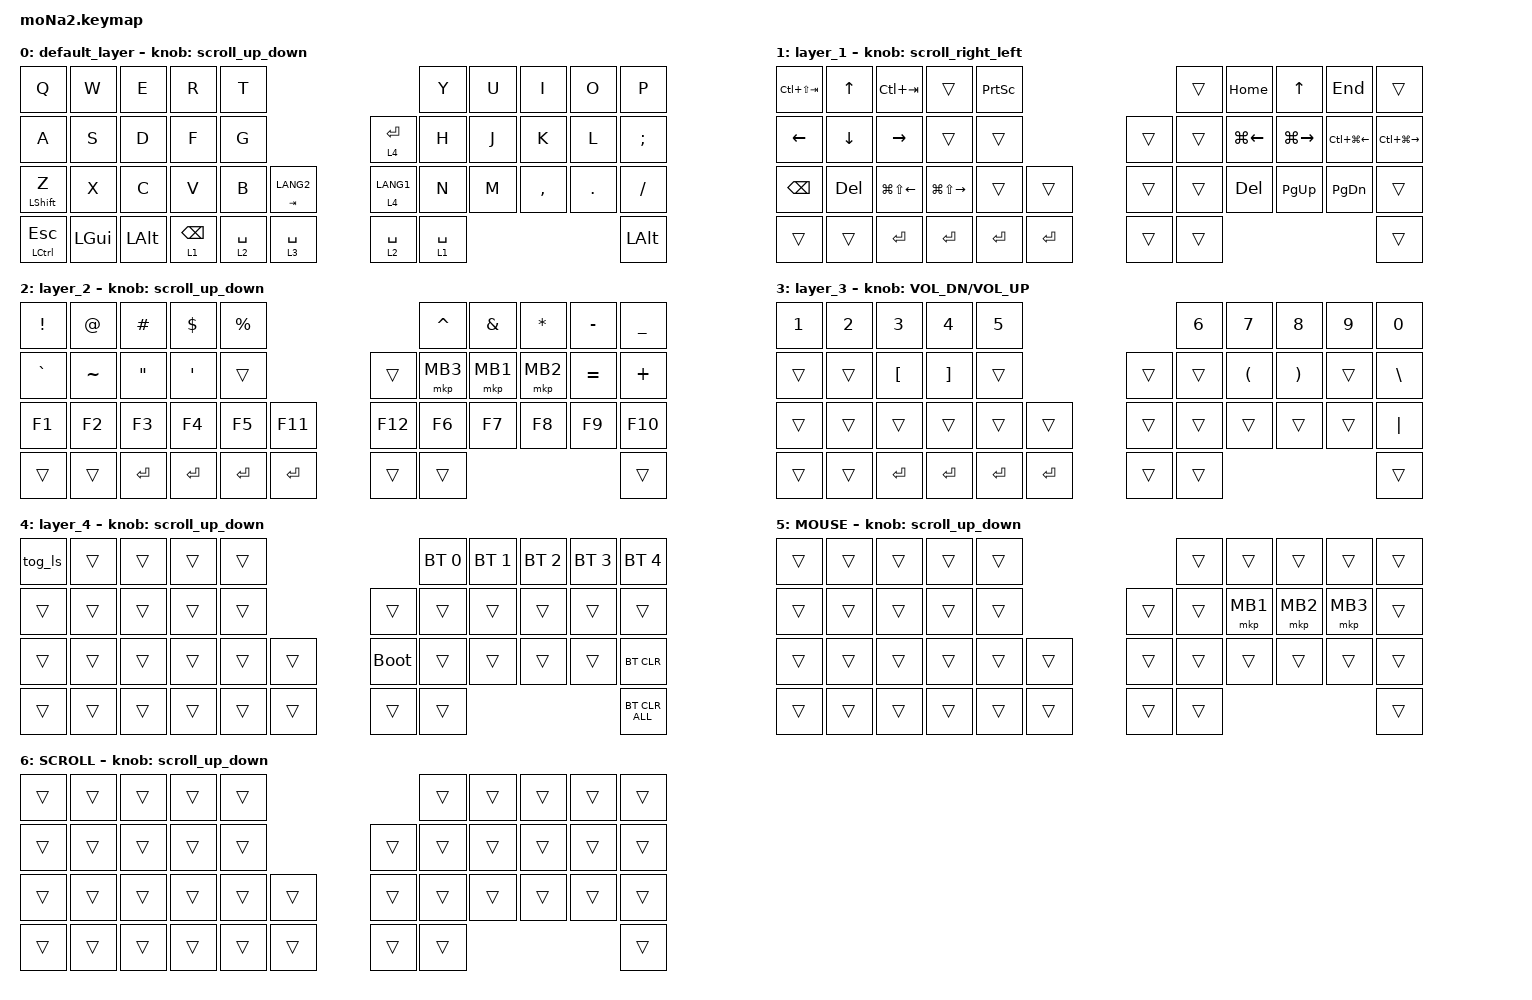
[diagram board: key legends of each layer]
#include <input/processors.dtsi>
#include <dt-bindings/zmk/input_transform.h>
#include <zephyr/dt-bindings/input/input-event-codes.h>
#include <behaviors.dtsi>
#include <dt-bindings/zmk/bt.h>
#include <dt-bindings/zmk/keys.h>
#include <dt-bindings/zmk/pointing.h>
#include <layout_shift_kp_override.dtsi>

#define ZMK_POINTING_DEFAULT_SCRL_VAL 100
#define MOUSE 5
#define SCROLL 6

&mt {
    flavor = "balanced";
    quick-tap-ms = <0>;
};

&lt {
    quick-tap-ms = <300>;
    flavor = "balanced";
};

/ {
    macros {
        to_layer_0: to_layer_0 {
            compatible = "zmk,behavior-macro-one-param";
            #binding-cells = <1>;
            bindings = <&to 0 &macro_param_1to1 &kp MACRO_PLACEHOLDER>;
            label = "TO_LAYER_0";
        };
    };

    behaviors {
        lt_to_layer_0: lt_to_layer_0 {
            compatible = "zmk,behavior-hold-tap";
            label = "LAYER_TAP_TO_0";
            bindings = <&mo>, <&to_layer_0>;

            #binding-cells = <2>;
            tapping-term-ms = <200>;
        };

        scroll_up_down: mouse_wheel_up_down {
            compatible = "zmk,behavior-sensor-rotate";
            #sensor-binding-cells = <0>;
            bindings = <&msc SCRL_DOWN>, <&msc SCRL_UP>;

            tap-ms = <20>;
        };

        scroll_right_left: mouse_wheel_right_left {
            compatible = "zmk,behavior-sensor-rotate";
            #sensor-binding-cells = <0>;
            bindings = <&msc SCRL_LEFT>, <&msc SCRL_RIGHT>;

            tap-ms = <20>;
        };
    };

    keymap {
        compatible = "zmk,keymap";

        default_layer {
            bindings = <
&kp Q          &kp W     &kp E     &kp R            &kp T                                      &kp Y        &kp U  &kp I      &kp O    &kp P
&kp A          &kp S     &kp D     &kp F            &kp G                         &lt 4 ENTER  &kp H        &kp J  &kp K      &kp L    &kp SEMI
&mt LSHFT Z    &kp X     &kp C     &kp V            &kp B        &mt TAB LANG2    &lt 4 LANG1  &kp N        &kp M  &kp COMMA  &kp DOT  &kp SLASH
&mt LCTRL ESC  &kp LGUI  &kp LALT  &lt 1 BACKSPACE  &lt 2 SPACE  &lt 3 SPACE      &lt 2 SPACE  &lt 1 SPACE                             &kp LALT
            >;

            sensor-bindings = <&scroll_up_down>;
        };

        layer_1 {
            bindings = <
&kp LC(LS(TAB))  &kp UP            &kp LC(TAB)        &trans         &kp PRINTSCREEN                       &trans  &kp HOME      &kp UP         &kp END           &trans
&kp LEFT         &kp DOWN          &kp RIGHT          &trans         &trans                        &trans  &trans  &kp LG(LEFT)  &kp LG(RIGHT)  &kp LC(LG(LEFT))  &kp LC(LG(RIGHT))
&kp BACKSPACE  &kp DELETE       &kp LG(LS(LEFT))  &kp LG(LS(RIGHT))  &trans           &trans       &trans  &trans  &kp DEL       &kp PG_UP      &kp PG_DN         &trans
&trans         &trans           &kp ENTER         &kp ENTER          &kp ENTER        &kp ENTER    &trans  &trans                                                 &trans
            >;

            sensor-bindings = <&scroll_right_left>;
        };

        layer_2 {
            bindings = <
&kp EXCL   &kp AT     &kp HASH   &kp DLLR   &kp PRCNT                        &kp CARET  &kp AMPS  &kp ASTRK  &kp MINUS  &kp UNDER
&kp GRAVE  &kp TILDE  &kp DQT    &kp SQT    &trans                  &trans   &mkp MB3   &mkp MB1  &mkp MB2   &kp EQUAL  &kp PLUS
&kp F1     &kp F2     &kp F3     &kp F4     &kp F5     &kp F11      &kp F12  &kp F6     &kp F7    &kp F8     &kp F9     &kp F10
&trans     &trans     &kp ENTER  &kp ENTER  &kp ENTER  &kp ENTER    &trans   &trans                                     &trans
            >;

            sensor-bindings = <&scroll_up_down>;
        };

        layer_3 {
            bindings = <
&kp N1  &kp N2  &kp N3     &kp N4     &kp N5                          &kp N6  &kp N7    &kp N8    &kp N9  &kp N0
&trans  &trans  &kp LBKT   &kp RBKT   &trans                  &trans  &trans  &kp LPAR  &kp RPAR  &trans  &kp BSLH
&trans  &trans  &trans     &trans     &trans     &trans       &trans  &trans  &trans    &trans    &trans  &kp PIPE
&trans  &trans  &kp ENTER  &kp ENTER  &kp ENTER  &kp ENTER    &trans  &trans                              &trans
            >;

            sensor-bindings = <&inc_dec_kp C_VOL_DN C_VOL_UP>;
        };

        layer_4 {
            bindings = <
&tog_ls  &trans  &trans  &trans  &trans                         &bt BT_SEL 0  &bt BT_SEL 1  &bt BT_SEL 2  &bt BT_SEL 3  &bt BT_SEL 4
&trans   &trans  &trans  &trans  &trans            &trans       &trans        &trans        &trans        &trans        &trans
&trans   &trans  &trans  &trans  &trans  &trans    &bootloader  &trans        &trans        &trans        &trans        &bt BT_CLR
&trans   &trans  &trans  &trans  &trans  &trans    &trans       &trans                                                  &bt BT_CLR_ALL
            >;

            sensor-bindings = <&scroll_up_down>;
        };

        MOUSE {
            bindings = <
&trans  &trans    &trans    &trans    &trans                    &trans  &trans    &trans    &trans    &trans
&trans  &trans    &trans    &trans    &trans            &trans  &trans  &mkp MB1  &mkp MB2  &mkp MB3  &trans
&trans  &trans    &trans    &trans    &trans  &trans    &trans  &trans  &trans    &trans    &trans    &trans
&trans  &trans    &trans    &trans    &trans  &trans    &trans  &trans                                &trans
            >;

            sensor-bindings = <&scroll_up_down>;
        };

        SCROLL {
            bindings = <
&trans  &trans  &trans  &trans  &trans                    &trans  &trans  &trans  &trans  &trans
&trans  &trans  &trans  &trans  &trans            &trans  &trans  &trans  &trans  &trans  &trans
&trans  &trans  &trans  &trans  &trans  &trans    &trans  &trans  &trans  &trans  &trans  &trans
&trans  &trans  &trans  &trans  &trans  &trans    &trans  &trans                          &trans
            >;

            sensor-bindings = <&scroll_up_down>;
        };
    };
};
